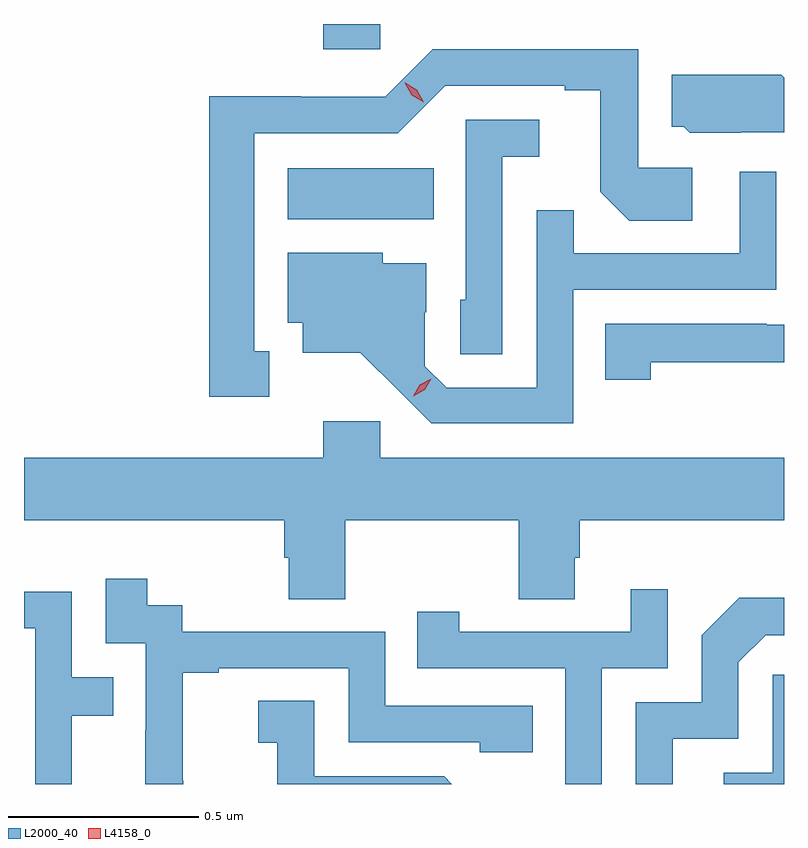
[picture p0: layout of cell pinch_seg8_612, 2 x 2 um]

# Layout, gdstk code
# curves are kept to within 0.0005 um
import gdstk
lib = gdstk.Library(unit=1e-6, precision=1e-09)
def R(c, l, rs):  # rectangles x0, y0, x1, y1
    for r in rs: c.add(gdstk.rectangle(r[:2], r[2:], *l))
def P(c, l, *ps):  # polygons
    for p in ps: c.add(gdstk.Polygon(p, *l))
L2000_40 = (2000, 40)
L4158_0 = (4158, 0)

pinch_seg8_612 = lib.new_cell('pinch_seg8_612')
R(pinch_seg8_612, L2000_40, [(114.506,1085.324,114.89,1085.458), (114.599,1085.771,114.75,1085.838)])
P(pinch_seg8_612, L2000_40, [(114.457,1084.977),(114.418,1084.977),(114.418,1085.55),(114.795,1085.55),(114.921,1085.676),(115.235,1085.676),(115.235,1085.664),(115.329,1085.664),(115.329,1085.396),(115.405,1085.32),(115.57,1085.32),(115.57,1085.46),(115.428,1085.46),(115.428,1085.772),(114.888,1085.772),(114.762,1085.646),(114.54,1085.646),(114.54,1085.648),(114.3,1085.648),(114.3,1084.857),(114.457,1084.857)],
  [(115.698,1085.553),(115.812,1085.553),(115.812,1085.697),(115.805,1085.704),(115.517,1085.704),(115.517,1085.568),(115.548,1085.568),(115.564,1085.552),(115.698,1085.552)],
  [(115.071,1085.489),(115.168,1085.489),(115.168,1085.586),(114.975,1085.586),(114.975,1085.112),(114.96,1085.112),(114.96,1084.969),(115.071,1084.969)],
  [(115.257,1085.139),(115.791,1085.139),(115.791,1085.449),(115.695,1085.449),(115.695,1085.235),(115.259,1085.235),(115.259,1085.348),(115.161,1085.348),(115.161,1084.881),(114.924,1084.881),(114.867,1084.938),(114.867,1085.08),(114.871,1085.08),(114.871,1085.209),(114.756,1085.209),(114.756,1085.236),(114.506,1085.236),(114.506,1085.052),(114.545,1085.052),(114.545,1084.973),(114.697,1084.973),(114.884,1084.788),(115.257,1084.788)],
  [(115.461,1084.948),(115.812,1084.948),(115.812,1085.046),(115.766,1085.046),(115.766,1085.049),(115.342,1085.049),(115.342,1084.902),(115.461,1084.902)],
  [(114.657,1084.532),(115.114,1084.532),(115.114,1084.324),(115.261,1084.324),(115.261,1084.434),(115.274,1084.434),(115.274,1084.532),(115.812,1084.532),(115.812,1084.696),(114.75,1084.696),(114.75,1084.792),(114.599,1084.792),(114.599,1084.696),(113.812,1084.696),(113.812,1084.532),(114.497,1084.532),(114.497,1084.434),(114.509,1084.434),(114.509,1084.324),(114.657,1084.324)],
  [(114.231,1083.847),(114.23,1083.847),(114.23,1084.131),(114.325,1084.131),(114.325,1084.143),(114.666,1084.143),(114.666,1083.948),(115.011,1083.948),(115.011,1083.921),(115.151,1083.921),(115.151,1084.044),(114.762,1084.044),(114.762,1084.239),(114.228,1084.239),(114.228,1084.308),(114.136,1084.308),(114.136,1084.378),(114.027,1084.378),(114.027,1084.209),(114.132,1084.209),(114.132,1083.98),(114.131,1083.98),(114.131,1083.838),(114.231,1083.838)],
  [(115.332,1084.143),(115.506,1084.143),(115.506,1084.351),(115.409,1084.351),(115.409,1084.239),(114.958,1084.239),(114.958,1084.291),(114.847,1084.291),(114.847,1084.143),(115.236,1084.143),(115.236,1083.838),(115.332,1083.838)],
  [(113.937,1084.018),(114.047,1084.018),(114.047,1084.119),(113.937,1084.119),(113.937,1084.344),(113.812,1084.344),(113.812,1084.248),(113.841,1084.248),(113.841,1083.838),(113.937,1083.838)],
  [(115.519,1083.957),(115.692,1083.957),(115.692,1084.158),(115.764,1084.23),(115.812,1084.23),(115.812,1084.328),(115.694,1084.328),(115.596,1084.23),(115.596,1084.053),(115.422,1084.053),(115.422,1083.838),(115.519,1083.838)],
  [(115.812,1084.126),(115.782,1084.126),(115.782,1083.867),(115.653,1083.867),(115.653,1083.838),(115.812,1083.838)],
  [(114.918,1083.858),(114.576,1083.858),(114.576,1084.057),(114.429,1084.057),(114.429,1083.947),(114.478,1083.947),(114.478,1083.838),(114.938,1083.838)])
P(pinch_seg8_612, L4158_0, [(114.836,1084.859),(114.836,1084.859),(114.853,1084.889),(114.884,1084.905),(114.884,1084.905),(114.884,1084.904),(114.867,1084.875),(114.836,1084.859)],
  [(114.864,1085.632),(114.832,1085.651),(114.814,1085.684),(114.814,1085.684),(114.815,1085.684),(114.846,1085.665),(114.864,1085.632),(114.864,1085.632)])

lib.write_gds('pinch_seg8_612.gds')
